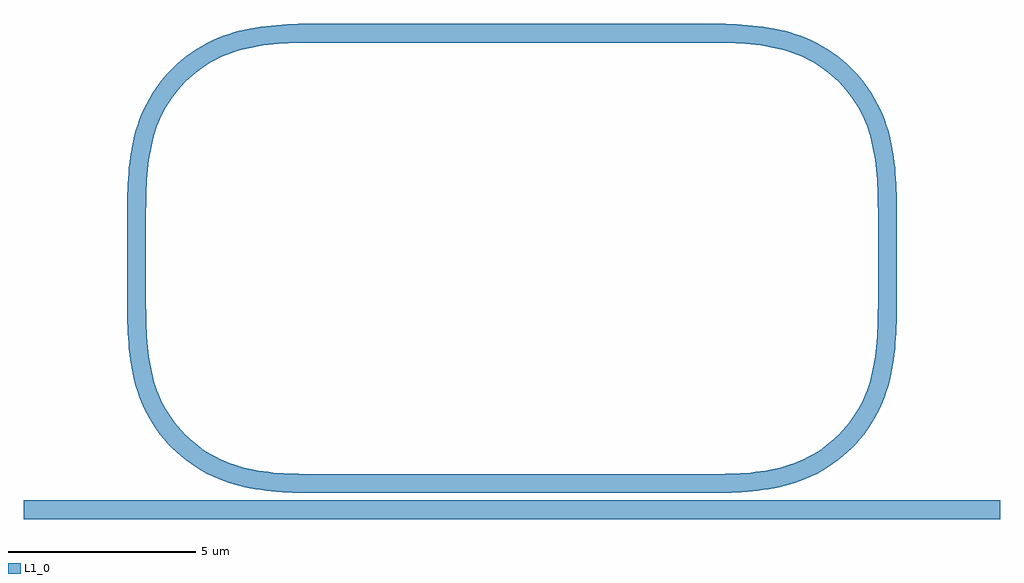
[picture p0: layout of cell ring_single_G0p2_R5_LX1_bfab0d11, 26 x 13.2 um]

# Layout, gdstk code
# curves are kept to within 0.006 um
from math import pi, radians
import gdstk
lib = gdstk.Library(unit=1e-6, precision=1e-09)
def R(c, l, rs):  # rectangles x0, y0, x1, y1
    for r in rs: c.add(gdstk.rectangle(r[:2], r[2:], *l))
def P(c, l, *ps):  # polygons
    for p in ps: c.add(gdstk.Polygon(p, *l))
L1_0 = (1, 0)

coupler_ring_g0p2_r5_lx_ = lib.new_cell('coupler_ring_G0p2_R5_LX_0a8ed283')
R(coupler_ring_g0p2_r5_lx_, L1_0, [(-18,-0.25,8,0.25)])
P(coupler_ring_g0p2_r5_lx_, L1_0, [(-10.278,0.45),(-10.982,0.466),(-11.553,0.512),(-11.839,0.553),(-12.124,0.609),(-12.549,0.725),(-12.977,0.894),(-13.125,0.967),(-13.411,1.132),(-13.681,1.321),(-13.809,1.425),(-14.053,1.647),(-14.167,1.767),(-14.379,2.019),(-14.476,2.152),(-14.568,2.289),(-14.733,2.575),(-14.806,2.723),(-14.926,3.012),(-15.057,3.433),(-15.147,3.861),(-15.188,4.147),(-15.216,4.433),(-15.244,5.001),(-15.25,5.7),(-14.75,5.7),(-14.74,4.877),(-14.706,4.34),(-14.674,4.075),(-14.63,3.814),(-14.538,3.432),(-14.457,3.186),(-14.352,2.934),(-14.22,2.68),(-14.146,2.558),(-13.982,2.324),(-13.892,2.212),(-13.798,2.104),(-13.596,1.902),(-13.376,1.718),(-13.142,1.554),(-13.02,1.48),(-12.894,1.411),(-12.634,1.29),(-12.268,1.162),(-11.886,1.07),(-11.625,1.026),(-11.36,0.994),(-10.958,0.965),(-10.276,0.95),(0.551,0.953),(1.093,0.973),(1.493,1.009),(1.886,1.07),(2.268,1.162),(2.634,1.29),(2.894,1.411),(3.142,1.554),(3.376,1.718),(3.596,1.902),(3.798,2.104),(3.982,2.324),(4.146,2.558),(4.289,2.806),(4.457,3.186),(4.573,3.558),(4.63,3.814),(4.691,4.207),(4.727,4.607),(4.747,5.149),(4.75,5.7),(5.25,5.7),(5.247,5.141),(5.234,4.718),(5.203,4.29),(5.147,3.861),(5.057,3.433),(4.975,3.151),(4.872,2.874),(4.733,2.575),(4.568,2.289),(4.379,2.019),(4.167,1.767),(4.053,1.647),(3.809,1.425),(3.548,1.224),(3.27,1.047),(2.977,0.894),(2.549,0.725),(2.124,0.609),(1.696,0.531),(1.267,0.484),(0.699,0.456)])

straight_l2_n2_csxs_34e_ = lib.new_cell('straight_L2_N2_CSxs_34e_af166967')
R(straight_l2_n2_csxs_34e_, L1_0, [(0,-0.25,2,0.25)])

straight_l10_n2_csxs_34_ = lib.new_cell('straight_L10_N2_CSxs_34_da2f7f46')
R(straight_l10_n2_csxs_34_, L1_0, [(0,-0.25,10,0.25)])

bend_euler_r5_a90_p0p5__ = lib.new_cell('bend_euler_R5_A90_P0p5__89575131')
P(bend_euler_r5_a90_p0p5__, L1_0, [(0,-0.25),(0,0.25),(0.823,0.26),(1.36,0.294),(1.625,0.326),(1.886,0.37),(2.268,0.462),(2.634,0.59),(2.894,0.711),(3.02,0.78),(3.142,0.854),(3.376,1.018),(3.596,1.202),(3.699,1.301),(3.798,1.404),(3.982,1.624),(4.146,1.858),(4.22,1.98),(4.289,2.106),(4.41,2.366),(4.538,2.732),(4.63,3.114),(4.674,3.375),(4.706,3.64),(4.74,4.177),(4.75,5),(5.25,5),(5.24,4.159),(5.203,3.59),(5.169,3.304),(5.121,3.018),(5.018,2.592),(4.872,2.174),(4.806,2.023),(4.653,1.73),(4.568,1.589),(4.379,1.319),(4.167,1.067),(4.053,0.947),(3.933,0.833),(3.681,0.621),(3.411,0.432),(3.27,0.347),(3.125,0.267),(2.826,0.128),(2.408,-0.018),(1.982,-0.121),(1.696,-0.169),(1.41,-0.203),(0.841,-0.24)])

ring_single_g0p2_r5_lx1_ = lib.new_cell('ring_single_G0p2_R5_LX1_bfab0d11')
ring_single_g0p2_r5_lx1_.add(gdstk.Reference(coupler_ring_g0p2_r5_lx_, (0,0)))
ring_single_g0p2_r5_lx1_.add(gdstk.Reference(straight_l2_n2_csxs_34e_, (-15,5.7), rotation=pi/2))
ring_single_g0p2_r5_lx1_.add(gdstk.Reference(straight_l2_n2_csxs_34e_, (5,7.7), rotation=3*pi/2))
ring_single_g0p2_r5_lx1_.add(gdstk.Reference(straight_l10_n2_csxs_34_, (0,12.7), rotation=pi))
ring_single_g0p2_r5_lx1_.add(gdstk.Reference(bend_euler_r5_a90_p0p5__, (-10,12.7), rotation=pi))
ring_single_g0p2_r5_lx1_.add(gdstk.Reference(bend_euler_r5_a90_p0p5__, (5,7.7), rotation=pi/2))

lib.write_gds('ring_single_G0p2_R5_LX1_bfab0d11.gds')
